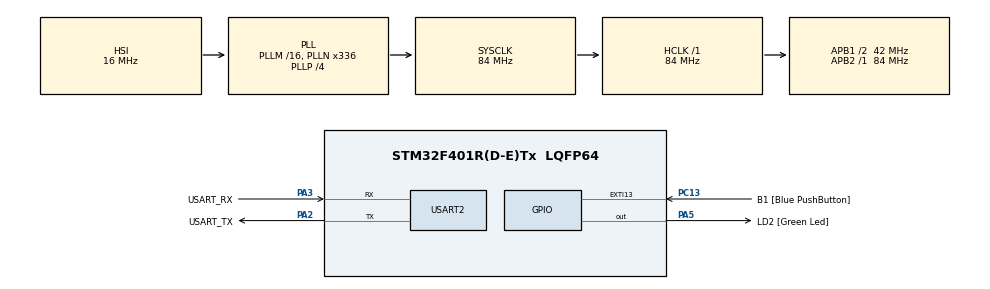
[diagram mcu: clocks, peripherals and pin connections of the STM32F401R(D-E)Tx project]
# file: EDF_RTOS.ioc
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Mcu.Family=STM32F4
Mcu.Name=STM32F401R(D-E)Tx
Mcu.Package=LQFP64
NVIC.PriorityGroup=NVIC_PRIORITYGROUP_0
PA13.GPIO_Label=TMS
PA13.Mode=Serial_Wire
PA13.Signal=SYS_JTMS-SWDIO
PA14.GPIO_Label=TCK
PA14.Mode=Serial_Wire
PA14.Signal=SYS_JTCK-SWCLK
PA2.GPIO_Label=USART_TX
PA2.GPIO_Mode=GPIO_MODE_AF_PP
PA2.GPIO_PuPd=GPIO_NOPULL
PA2.GPIO_Speed=GPIO_SPEED_FREQ_LOW
PA2.Mode=Asynchronous
PA2.Signal=USART2_TX
PA3.GPIO_Label=USART_RX
PA3.GPIO_Mode=GPIO_MODE_AF_PP
PA3.GPIO_PuPd=GPIO_NOPULL
PA3.GPIO_Speed=GPIO_SPEED_FREQ_LOW
PA3.Mode=Asynchronous
PA3.Signal=USART2_RX
PA5.GPIO_Label=LD2 [Green Led]
PA5.GPIO_Mode=GPIO_MODE_OUTPUT_PP
PA5.GPIO_PuPd=GPIO_NOPULL
PA5.GPIO_Speed=GPIO_SPEED_FREQ_LOW
PA5.Signal=GPIO_Output
PB3.GPIO_Label=SWO
PB3.Signal=SYS_JTDO-SWO
PC13-ANTI_TAMP.GPIO_Label=B1 [Blue PushButton]
PC13-ANTI_TAMP.GPIO_ModeDefaultEXTI=GPIO_MODE_IT_FALLING
PC13-ANTI_TAMP.GPIO_PuPd=GPIO_NOPULL
PC13-ANTI_TAMP.Signal=GPXTI13
PC14-OSC32_IN.Mode=LSE-External-Oscillator
PC14-OSC32_IN.Signal=RCC_OSC32_IN
PC15-OSC32_OUT.Mode=LSE-External-Oscillator
PC15-OSC32_OUT.Signal=RCC_OSC32_OUT
PH0\ -\ OSC_IN.Mode=HSE-External-Clock-Source
PH0\ -\ OSC_IN.Signal=RCC_OSC_IN
PH1\ -\ OSC_OUT.Mode=HSE-External-Clock-Source
PH1\ -\ OSC_OUT.Signal=RCC_OSC_OUT
ProjectManager.HeapSize=0x200
ProjectManager.StackSize=0x400
ProjectManager.TargetToolchain=STM32CubeIDE
RCC.48MHZClocksFreq_Value=48000000
RCC.AHBFreq_Value=84000000
RCC.APB1CLKDivider=RCC_HCLK_DIV2
RCC.APB1Freq_Value=42000000
RCC.APB1TimFreq_Value=84000000
RCC.APB2Freq_Value=84000000
RCC.APB2TimFreq_Value=84000000
RCC.CortexFreq_Value=84000000
RCC.HCLKFreq_Value=84000000
RCC.HSE_VALUE=8000000
RCC.HSI_VALUE=16000000
RCC.PLLN=336
RCC.PLLP=RCC_PLLP_DIV4
RCC.PLLQ=7
RCC.SYSCLKFreq_VALUE=84000000
RCC.SYSCLKSource=RCC_SYSCLKSOURCE_PLLCLK
RCC.VCOOutputFreq_Value=336000000
USART2.VirtualMode=VM_ASYNC
board=NUCLEO-F401RE

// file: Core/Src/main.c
/* USER CODE BEGIN Header */
/**
  ******************************************************************************
  * @file           : main.c
  * @brief          : Main program body
  ******************************************************************************
  * @attention
  *
  * Copyright (c) 2024 STMicroelectronics.
  * All rights reserved.
  *
  * This software is licensed under terms that can be found in the LICENSE file
  * in the root directory of this software component.
  * If no LICENSE file comes with this software, it is provided AS-IS.
  *
  ******************************************************************************
  */
/* USER CODE END Header */
#include "main.h"
#include "usart.h"
#include "gpio.h"

/* USER CODE BEGIN Includes */
#include "scheduler.h"
#include "task.h"
#include <stdio.h>
/* USER CODE END Includes */

/* USER CODE BEGIN PV */
uint32_t task_1var = 1;
uint32_t task_2var = 2;
/* USER CODE END PV */

void SystemClock_Config(void);

/* USER CODE BEGIN 0 */
static void idle_task(void* args) {
	while(1) {
//		printf("Idling \r\n");
//		yield_scheduler();

	}
}

static void task_1(void* args) {
	volatile uint32_t arg = (uint32_t)args;
	while(1) {
		arg = (arg + 1) % 100;
		printf("TASK 1: YAY %d\r\n", arg);
		yield_scheduler();
	}
}

static void task_2(void* args) {
	volatile uint32_t arg = (uint32_t)args;
	while(1) {
		arg = (arg + 1) % 100;
		printf("Task 2: IM ALIVE %d\r\n", arg);
		HAL_GPIO_TogglePin(GPIOA, GPIO_PIN_5);
		yield_scheduler();
	}
}

int __io_putchar (int ch) {
	HAL_UART_Transmit(&huart2, (uint8_t *)&ch, 1, HAL_MAX_DELAY);
	return ch;
}

/* USER CODE END 0 */

int main(void)
{

  /* MCU Configuration--------------------------------------------------------*/

  /* Reset of all peripherals, Initializes the Flash interface and the Systick. */
  HAL_Init();

  /* Configure the system clock */
  SystemClock_Config();

  /* Initialize all configured peripherals */
  MX_GPIO_Init();
  MX_USART2_UART_Init();
  /* USER CODE BEGIN 2 */

//  task_1(&task_1var);
  printf("HELLO\r\n\n");
  init_scheduler(idle_task);
  create_task(task_1, &task_1var, 1000, 0, "Task 1");
  create_task(task_2, &task_2var, 5000, 15, "Task 2");
  start_scheduler();

  /* USER CODE END 2 */

  /* Infinite loop */
  while (1)
  {

  }
}

void SystemClock_Config(void)
{
  RCC_OscInitTypeDef RCC_OscInitStruct = {0};
  RCC_ClkInitTypeDef RCC_ClkInitStruct = {0};

  /** Configure the main internal regulator output voltage
  */
  __HAL_RCC_PWR_CLK_ENABLE();
  __HAL_PWR_VOLTAGESCALING_CONFIG(PWR_REGULATOR_VOLTAGE_SCALE2);

  /** Initializes the RCC Oscillators according to the specified parameters
  * in the RCC_OscInitTypeDef structure.
  */
  RCC_OscInitStruct.OscillatorType = RCC_OSCILLATORTYPE_HSI;
  RCC_OscInitStruct.HSIState = RCC_HSI_ON;
  RCC_OscInitStruct.HSICalibrationValue = RCC_HSICALIBRATION_DEFAULT;
  RCC_OscInitStruct.PLL.PLLState = RCC_PLL_ON;
  RCC_OscInitStruct.PLL.PLLSource = RCC_PLLSOURCE_HSI;
  RCC_OscInitStruct.PLL.PLLM = 16;
  RCC_OscInitStruct.PLL.PLLN = 336;
  RCC_OscInitStruct.PLL.PLLP = RCC_PLLP_DIV4;
  RCC_OscInitStruct.PLL.PLLQ = 7;
  if (HAL_RCC_OscConfig(&RCC_OscInitStruct) != HAL_OK)
  {
    Error_Handler();
  }

  /** Initializes the CPU, AHB and APB buses clocks
  */
  RCC_ClkInitStruct.ClockType = RCC_CLOCKTYPE_HCLK|RCC_CLOCKTYPE_SYSCLK
                              |RCC_CLOCKTYPE_PCLK1|RCC_CLOCKTYPE_PCLK2;
  RCC_ClkInitStruct.SYSCLKSource = RCC_SYSCLKSOURCE_PLLCLK;
  RCC_ClkInitStruct.AHBCLKDivider = RCC_SYSCLK_DIV1;
  RCC_ClkInitStruct.APB1CLKDivider = RCC_HCLK_DIV2;
  RCC_ClkInitStruct.APB2CLKDivider = RCC_HCLK_DIV1;

  if (HAL_RCC_ClockConfig(&RCC_ClkInitStruct, FLASH_LATENCY_2) != HAL_OK)
  {
    Error_Handler();
  }
}

void Error_Handler(void)
{
  __disable_irq();
  while (1)
  {
  }
}
